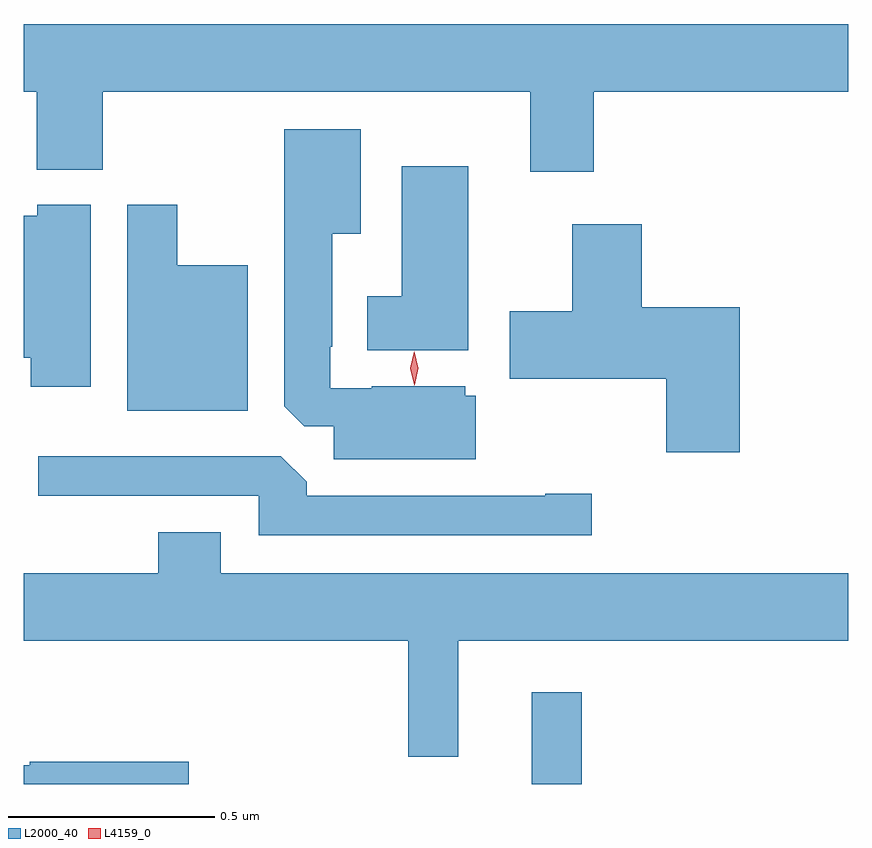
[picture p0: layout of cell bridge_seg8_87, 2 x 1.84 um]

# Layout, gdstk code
import gdstk
lib = gdstk.Library(unit=1e-6, precision=1e-09)
def R(c, l, rs):  # rectangles x0, y0, x1, y1
    for r in rs: c.add(gdstk.rectangle(r[:2], r[2:], *l))
def P(c, l, *ps):  # polygons
    for p in ps: c.add(gdstk.Polygon(p, *l))
L2000_40 = (2000, 40)
L4159_0 = (4159, 0)

bridge_seg8_87 = lib.new_cell('bridge_seg8_87')
R(bridge_seg8_87, L2000_40, [(805.259,1104.165,805.381,1104.388)])
P(bridge_seg8_87, L2000_40, [(805.409,1105.844),(806.027,1105.844),(806.027,1106.008),(804.027,1106.008),(804.027,1105.844),(804.059,1105.844),(804.059,1105.655),(804.219,1105.655),(804.219,1105.844),(805.256,1105.844),(805.256,1105.65),(805.409,1105.65)],
  [(805.123,1105.107),(805.098,1105.107),(805.098,1105.129),(804.871,1105.129),(804.871,1105.125),(804.771,1105.125),(804.771,1105.225),(804.775,1105.225),(804.775,1105.499),(804.844,1105.499),(804.844,1105.753),(804.659,1105.753),(804.659,1105.081),(804.708,1105.032),(804.779,1105.032),(804.779,1104.953),(805.123,1104.953)],
  [(805.105,1105.663),(804.944,1105.663),(804.944,1105.348),(804.86,1105.348),(804.86,1105.217),(805.105,1105.217)],
  [(804.571,1105.423),(804.4,1105.423),(804.4,1105.57),(804.278,1105.57),(804.278,1105.07),(804.571,1105.07)],
  [(804.19,1105.57),(804.06,1105.57),(804.06,1105.543),(804.027,1105.543),(804.027,1105.199),(804.044,1105.199),(804.044,1105.128),(804.19,1105.128)],
  [(805.763,1105.321),(805.526,1105.321),(805.526,1105.522),(805.358,1105.522),(805.358,1105.311),(805.206,1105.311),(805.206,1105.148),(805.585,1105.148),(805.585,1104.969),(805.763,1104.969)],
  [(805.405,1104.869),(805.292,1104.869),(805.292,1104.864),(804.713,1104.864),(804.713,1104.898),(804.651,1104.96),(804.063,1104.96),(804.063,1104.864),(804.597,1104.864),(804.597,1104.768),(805.405,1104.768)],
  [(805.081,1104.512),(806.027,1104.512),(806.027,1104.676),(804.505,1104.676),(804.505,1104.775),(804.353,1104.775),(804.353,1104.676),(804.027,1104.676),(804.027,1104.512),(804.96,1104.512),(804.96,1104.231),(805.081,1104.231)],
  [(804.427,1104.219),(804.042,1104.219),(804.042,1104.211),(804.027,1104.211),(804.027,1104.165),(804.427,1104.165)])
P(bridge_seg8_87, L4159_0, [(804.974,1105.132),(804.974,1105.133),(804.964,1105.173),(804.974,1105.214),(804.974,1105.214),(804.974,1105.214),(804.984,1105.173),(804.975,1105.133)])

lib.write_gds('bridge_seg8_87.gds')
